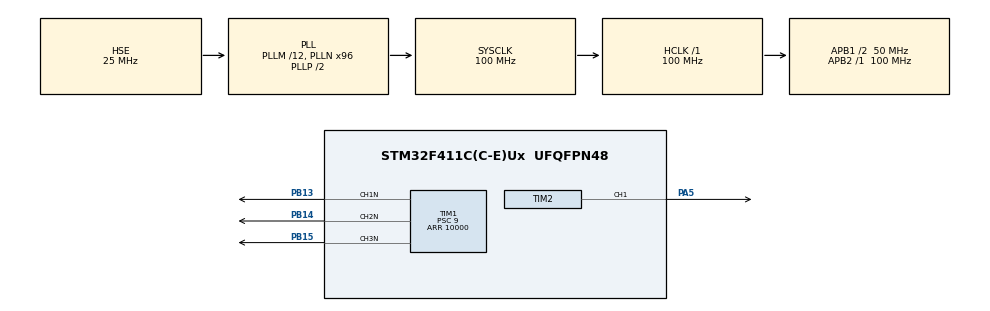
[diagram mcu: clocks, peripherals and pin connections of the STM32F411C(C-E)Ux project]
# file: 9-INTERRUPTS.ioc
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Mcu.Family=STM32F4
Mcu.Name=STM32F411C(C-E)Ux
Mcu.Package=UFQFPN48
NVIC.PriorityGroup=NVIC_PRIORITYGROUP_4
NVIC.TIM1_UP_TIM10_IRQn=true\:0\:0\:false\:false\:true
PA13.Mode=Serial-Wire
PA13.Signal=SYS_JTMS-SWDIO
PA14.Mode=Serial-Wire
PA14.Signal=SYS_JTCK-SWCLK
PA5.Signal=S_TIM2_CH1_ETR
PB13.Mode=PWM Generation1 CH1N
PB13.Signal=TIM1_CH1N
PB14.Mode=PWM Generation2 CH2N
PB14.Signal=TIM1_CH2N
PB15.Mode=PWM Generation3 CH3N
PB15.Signal=TIM1_CH3N
PC14-OSC32_IN.Mode=LSE-External-Oscillator
PC14-OSC32_IN.Signal=RCC_OSC32_IN
PC15-OSC32_OUT.Mode=LSE-External-Oscillator
PC15-OSC32_OUT.Signal=RCC_OSC32_OUT
PH0\ -\ OSC_IN.Mode=HSE-External-Oscillator
PH0\ -\ OSC_IN.Signal=RCC_OSC_IN
PH1\ -\ OSC_OUT.Mode=HSE-External-Oscillator
PH1\ -\ OSC_OUT.Signal=RCC_OSC_OUT
ProjectManager.HeapSize=0x400
ProjectManager.StackSize=0x200
ProjectManager.TargetToolchain=SW4STM32
RCC.48MHZClocksFreq_Value=50000000
RCC.AHBFreq_Value=100000000
RCC.APB1CLKDivider=RCC_HCLK_DIV2
RCC.APB1Freq_Value=50000000
RCC.APB1TimCLKDivider=1
RCC.APB1TimFreq_Value=50000000
RCC.APB2Freq_Value=100000000
RCC.APB2TimFreq_Value=100000000
RCC.CortexFreq_Value=100000000
RCC.HCLKFreq_Value=100000000
RCC.HSE_VALUE=25000000
RCC.HSI_VALUE=16000000
RCC.PLLM=12
RCC.PLLN=96
RCC.PLLSourceVirtual=RCC_PLLSOURCE_HSE
RCC.SYSCLKFreq_VALUE=100000000
RCC.SYSCLKSource=RCC_SYSCLKSOURCE_PLLCLK
RCC.VCOOutputFreq_Value=200000000
SH.S_TIM2_CH1_ETR.0=TIM2_CH1,PWM Generation1 CH1
TIM1.Channel-PWM\ Generation2\ CH2N=TIM_CHANNEL_2
TIM1.Channel-PWM\ Generation3\ CH3N=TIM_CHANNEL_3
TIM1.OCNPolarity_1=TIM_OCNPOLARITY_LOW
TIM1.OCNPolarity_2=TIM_OCNPOLARITY_LOW
TIM1.OCNPolarity_3=TIM_OCNPOLARITY_LOW
TIM1.Period=10000
TIM1.Prescaler=9
TIM10.Period=9999
TIM10.Prescaler=99
TIM2.Period=10000
TIM2.Prescaler=49
VP_TIM10_VS_ClockSourceINT.Mode=Enable_Timer
board=9-INTERRUPTS

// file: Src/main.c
/**
  ******************************************************************************
  * File Name          : main.c
  * Description        : Main program body
  ******************************************************************************
  *
  * COPYRIGHT(c) 2016 STMicroelectronics
  *
  * Redistribution and use in source and binary forms, with or without modification,
  * are permitted provided that the following conditions are met:
  *   1. Redistributions of source code must retain the above copyright notice,
  *      this list of conditions and the following disclaimer.
  *   2. Redistributions in binary form must reproduce the above copyright notice,
  *      this list of conditions and the following disclaimer in the documentation
  *      and/or other materials provided with the distribution.
  *   3. Neither the name of STMicroelectronics nor the names of its contributors
  *      may be used to endorse or promote products derived from this software
  *      without specific prior written permission.
  *
  * THIS SOFTWARE IS PROVIDED BY THE COPYRIGHT HOLDERS AND CONTRIBUTORS "AS IS"
  * AND ANY EXPRESS OR IMPLIED WARRANTIES, INCLUDING, BUT NOT LIMITED TO, THE
  * IMPLIED WARRANTIES OF MERCHANTABILITY AND FITNESS FOR A PARTICULAR PURPOSE ARE
  * DISCLAIMED. IN NO EVENT SHALL THE COPYRIGHT HOLDER OR CONTRIBUTORS BE LIABLE
  * FOR ANY DIRECT, INDIRECT, INCIDENTAL, SPECIAL, EXEMPLARY, OR CONSEQUENTIAL
  * DAMAGES (INCLUDING, BUT NOT LIMITED TO, PROCUREMENT OF SUBSTITUTE GOODS OR
  * SERVICES; LOSS OF USE, DATA, OR PROFITS; OR BUSINESS INTERRUPTION) HOWEVER
  * CAUSED AND ON ANY THEORY OF LIABILITY, WHETHER IN CONTRACT, STRICT LIABILITY,
  * OR TORT (INCLUDING NEGLIGENCE OR OTHERWISE) ARISING IN ANY WAY OUT OF THE USE
  * OF THIS SOFTWARE, EVEN IF ADVISED OF THE POSSIBILITY OF SUCH DAMAGE.
  *
  ******************************************************************************
  */
#include "stm32f4xx_hal.h"
#include "tim.h"
#include "gpio.h"

/* USER CODE BEGIN PV */
/* Private variables ---------------------------------------------------------*/
int8_t direction = 1;
double value = 0;
double step = 0.02;
double max_value = 1;
/* USER CODE END PV */

void SystemClock_Config(void);

/* USER CODE BEGIN PFP */
/* Private function prototypes -----------------------------------------------*/

/* USER CODE END PFP */

/* USER CODE BEGIN 0 */
void HAL_TIM_PeriodElapsedCallback(TIM_HandleTypeDef *htim) {
	if (htim->Instance == TIM10) {
		value += direction * step;
		if (value <= 0 || value >= max_value)
			direction = -direction;
		set_led_brightness(&htim1, TIM_CHANNEL_1, value);
	}
}

void set_led_brightness(TIM_HandleTypeDef * timer, uint32_t channel,
		double brightness) {
	int32_t value = powf((brightness), 2.2) * 10000;
	__HAL_TIM_SET_COMPARE(timer, channel, value);
}
/* USER CODE END 0 */

int main(void)
{

  /* MCU Configuration----------------------------------------------------------*/

  /* Reset of all peripherals, Initializes the Flash interface and the Systick. */
  HAL_Init();

  /* Configure the system clock */
  SystemClock_Config();

  /* Initialize all configured peripherals */
  MX_GPIO_Init();
  MX_TIM1_Init();
  MX_TIM2_Init();
  MX_TIM10_Init();

  /* USER CODE BEGIN 2 */
	HAL_TIM_Base_Start_IT(&htim10);
	HAL_TIM_PWM_Start(&htim2, TIM_CHANNEL_1);
	HAL_TIMEx_PWMN_Start(&htim1, TIM_CHANNEL_1);
	HAL_TIMEx_PWMN_Start(&htim1, TIM_CHANNEL_2);
	HAL_TIMEx_PWMN_Start(&htim1, TIM_CHANNEL_3);
  /* USER CODE END 2 */

  /* Infinite loop */
	while (1) {

	}

}

/** System Clock Configuration
*/
void SystemClock_Config(void)
{

  RCC_OscInitTypeDef RCC_OscInitStruct;
  RCC_ClkInitTypeDef RCC_ClkInitStruct;

  __HAL_RCC_PWR_CLK_ENABLE();

  __HAL_PWR_VOLTAGESCALING_CONFIG(PWR_REGULATOR_VOLTAGE_SCALE1);

  RCC_OscInitStruct.OscillatorType = RCC_OSCILLATORTYPE_HSE;
  RCC_OscInitStruct.HSEState = RCC_HSE_ON;
  RCC_OscInitStruct.PLL.PLLState = RCC_PLL_ON;
  RCC_OscInitStruct.PLL.PLLSource = RCC_PLLSOURCE_HSE;
  RCC_OscInitStruct.PLL.PLLM = 12;
  RCC_OscInitStruct.PLL.PLLN = 96;
  RCC_OscInitStruct.PLL.PLLP = RCC_PLLP_DIV2;
  RCC_OscInitStruct.PLL.PLLQ = 4;
  HAL_RCC_OscConfig(&RCC_OscInitStruct);

  RCC_ClkInitStruct.ClockType = RCC_CLOCKTYPE_HCLK|RCC_CLOCKTYPE_SYSCLK
                              |RCC_CLOCKTYPE_PCLK1|RCC_CLOCKTYPE_PCLK2;
  RCC_ClkInitStruct.SYSCLKSource = RCC_SYSCLKSOURCE_PLLCLK;
  RCC_ClkInitStruct.AHBCLKDivider = RCC_SYSCLK_DIV1;
  RCC_ClkInitStruct.APB1CLKDivider = RCC_HCLK_DIV2;
  RCC_ClkInitStruct.APB2CLKDivider = RCC_HCLK_DIV1;
  HAL_RCC_ClockConfig(&RCC_ClkInitStruct, FLASH_LATENCY_3);

  HAL_SYSTICK_Config(HAL_RCC_GetHCLKFreq()/1000);

  HAL_SYSTICK_CLKSourceConfig(SYSTICK_CLKSOURCE_HCLK);

  /* SysTick_IRQn interrupt configuration */
  HAL_NVIC_SetPriority(SysTick_IRQn, 0, 0);
}

/************************ (C) COPYRIGHT STMicroelectronics *****END OF FILE****/
